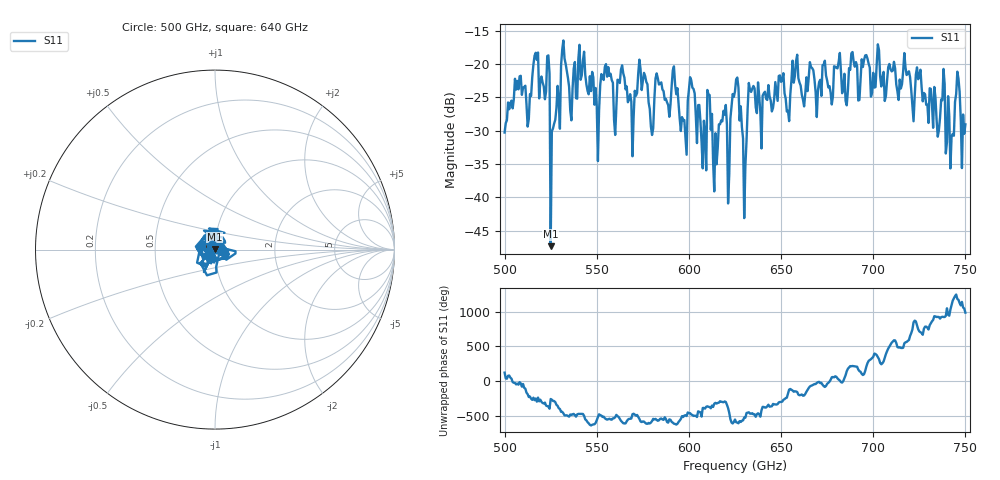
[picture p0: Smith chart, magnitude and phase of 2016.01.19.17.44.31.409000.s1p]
!Created with skrf (http://scikit-rf.org).
# GHz S RI R 50.0
!freq ReS11 ImS11
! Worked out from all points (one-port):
!   401 points, 500 GHz to 750 GHz, reference 50 ohm
!   lowest |S11| = -47.3 dB at 525 GHz (marker M1), VSWR 1.01, Z = 49.9 + j0.425 ohm
!   |S11| at or under -10 dB: start of sweep to end of sweep
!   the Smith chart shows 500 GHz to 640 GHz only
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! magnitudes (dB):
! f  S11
! 500 GHz  -30.3
! 506.9 GHz  -22.5
! 513.1 GHz  -28.2
! 516.9 GHz  -18.3
! 523.1 GHz  -18.8
! 525 GHz  -47.3
! 526.2 GHz  -29.7
! 531.2 GHz  -17.9
! 550 GHz  -26.4
! 562.5 GHz  -22.8
! 568.8 GHz  -25.6
! 573.8 GHz  -20.7
! 579.4 GHz  -29.4
! 593.8 GHz  -23.6
! 597.5 GHz  -28.4
! 601.9 GHz  -23.5
! 608.1 GHz  -28.5
! 611.2 GHz  -24.7
! 614.4 GHz  -30.4
! 618.8 GHz  -27.0
! 621.9 GHz  -36.5
! 625 GHz  -24.1
! 630 GHz  -43.1
! 633.8 GHz  -24.2
! 656.2 GHz  -19.5
! 687.5 GHz  -20.9
! 718.8 GHz  -21.4
! 750 GHz  -29.0
